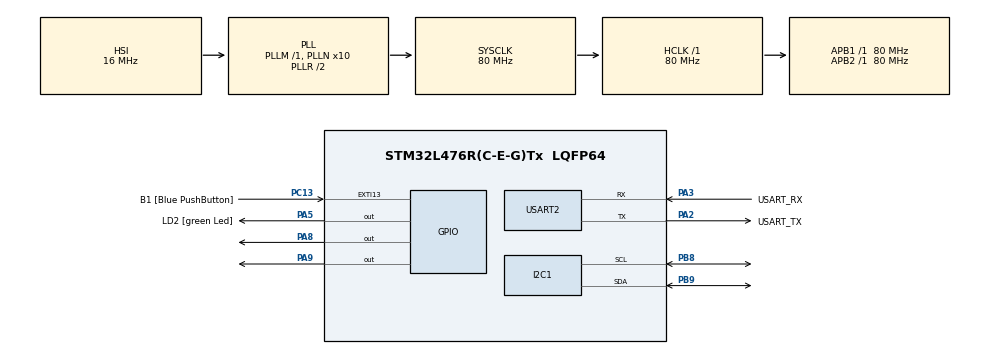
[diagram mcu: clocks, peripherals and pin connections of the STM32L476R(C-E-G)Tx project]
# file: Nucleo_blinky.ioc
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Mcu.Family=STM32L4
PA2.GPIO_PuPd=GPIO_NOPULL
TIM17.Prescaler=8000 - 1
RCC.CortexFreq_Value=80000000
VP_TIM17_VS_ClockSourceINT.Mode=Enable_Timer
NVIC.TIM6_DAC_IRQn=true\:0\:0\:false\:false\:true\:true\:true
PH0-OSC_IN\ (PH0).Signal=RCC_OSC_IN
PA3.GPIO_PuPd=GPIO_NOPULL
PA2.GPIO_Speed=GPIO_SPEED_FREQ_VERY_HIGH
PC15-OSC32_OUT\ (PC15).Mode=LSE-External-Oscillator
PC13.GPIO_Label=B1 [Blue PushButton]
PA3.GPIO_Speed=GPIO_SPEED_FREQ_VERY_HIGH
RCC.SYSCLKSource=RCC_SYSCLKSOURCE_PLLCLK
ProjectManager.StackSize=0x400
PB3\ (JTDO-TRACESWO).Signal=SYS_JTDO-SWO
PC14-OSC32_IN\ (PC14).Mode=LSE-External-Oscillator
PA14\ (JTCK-SWCLK).Signal=SYS_JTCK-SWCLK
RCC.HCLKFreq_Value=80000000
RCC.APB2TimFreq_Value=80000000
RCC.AHBFreq_Value=80000000
RCC.PREFETCH_ENABLE=1
RCC.HSE_VALUE=8000000
USART2.VirtualMode-Asynchronous=VM_ASYNC
TIM17.Period=2000 - 1
NVIC.TIM1_TRG_COM_TIM17_IRQn=true\:0\:0\:false\:false\:true\:true\:true
PA5.GPIO_PuPd=GPIO_NOPULL
PC13.GPIO_PuPd=GPIO_NOPULL
PA8.Signal=GPIO_Output
TIM6.Period=10000 - 1
Mcu.Package=LQFP64
PB9.Signal=I2C1_SDA
PA2.GPIO_Label=USART_TX
RCC.APB1TimFreq_Value=80000000
TIM16.Prescaler=8000 - 1
PA13\ (JTMS-SWDIO).Signal=SYS_JTMS-SWDIO
PA8.PinState=GPIO_PIN_RESET
PA3.Signal=USART2_RX
PA2.GPIO_Mode=GPIO_MODE_AF_PP
RCC.MSI_VALUE=4000000
RCC.PLLSourceVirtual=RCC_PLLSOURCE_HSI
PA14\ (JTCK-SWCLK).Mode=Serial_Wire
PC13.Signal=GPXTI13
TIM6.Prescaler=8000 - 1
VP_TIM6_VS_ClockSourceINT.Mode=Enable_Timer
PC15-OSC32_OUT\ (PC15).Signal=RCC_OSC32_OUT
VP_TIM16_VS_ClockSourceINT.Mode=Enable_Timer
PA14\ (JTCK-SWCLK).GPIO_Label=TCK
PB3\ (JTDO-TRACESWO).GPIO_Label=SWO
PH1-OSC_OUT\ (PH1).Signal=RCC_OSC_OUT
PA3.Mode=Asynchronous
ProjectManager.TargetToolchain=STM32CubeIDE
PA3.GPIO_Mode=GPIO_MODE_AF_PP
PB9.Mode=I2C
PA9.Signal=GPIO_Output
I2C1.Timing=0x10909CEC
PA9.PinState=GPIO_PIN_SET
RCC.USBFreq_Value=64000000
PA5.Signal=GPIO_Output
board=NUCLEO-L476RG
RCC.VCOOutputFreq_Value=160000000
TIM16.Period=10000-1
RCC.APB2Freq_Value=80000000
PA5.GPIO_ModeDefaultOutputPP=GPIO_MODE_OUTPUT_PP
PA13\ (JTMS-SWDIO).GPIO_Label=TMS
RCC.ADCFreq_Value=64000000
Mcu.Name=STM32L476R(C-E-G)Tx
PA2.Signal=USART2_TX
PA13\ (JTMS-SWDIO).Mode=Serial_Wire
RCC.SYSCLKFreq_VALUE=80000000
PA5.GPIO_Label=LD2 [green Led]
PC13.GPIO_ModeDefaultEXTI=GPIO_MODE_IT_FALLING
PC14-OSC32_IN\ (PC14).Signal=RCC_OSC32_IN
ProjectManager.HeapSize=0x200
RCC.HSI_VALUE=16000000
NVIC.TIM1_UP_TIM16_IRQn=true\:0\:0\:false\:false\:true\:true\:true
PA5.GPIO_Speed=GPIO_SPEED_FREQ_LOW
NVIC.PriorityGroup=NVIC_PRIORITYGROUP_4
RCC.PLLN=10
PB8.Mode=I2C
PA2.Mode=Asynchronous
PB8.Signal=I2C1_SCL
RCC.APB1Freq_Value=80000000
PA3.GPIO_Label=USART_RX

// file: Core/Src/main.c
/* USER CODE BEGIN Header */
/**
  ******************************************************************************
  * @file           : main.c
  * @brief          : Main program body
  ******************************************************************************
  * @attention
  *
  * <h2><center>&copy; Copyright (c) 2021 STMicroelectronics.
  * All rights reserved.</center></h2>
  *
  * This software component is licensed by ST under BSD 3-Clause license,
  * the "License"; You may not use this file except in compliance with the
  * License. You may obtain a copy of the License at:
  *                        opensource.org/licenses/BSD-3-Clause
  *
  ******************************************************************************
  */
/* USER CODE END Header */
#include "main.h"

/* USER CODE BEGIN Includes */
#include <string.h>
#include <stdio.h>
/* USER CODE END Includes */

I2C_HandleTypeDef hi2c1;

TIM_HandleTypeDef htim6;
TIM_HandleTypeDef htim16;
TIM_HandleTypeDef htim17;

UART_HandleTypeDef huart2;

/* USER CODE BEGIN PV */
//#define MPUSlaveAddr 0x68								 // Defines the MPU Slave address
//static const uint8_t MPUSlaveAddr = 0x68;				 // makes it more readable for functions
//static const uint8_t MPU6050_ADDR = MPUSlaveAddr << 1;   // Setting I2C slave address (and saving bit for R/W bit)
#define MPU6050_ADDR 0xD0
//static const uint8_t MPU_WHOAMI = 0x75;                  // for checking if the device is (properly) detected
#define WHO_AM_I_REG 0x75
//#define PWR_MGMT_ADDR 0x6B                             // used for waking up device from sleep
//static const uint8_t
#define PWR_MGMT_1_REG 0x6B				 // makes it more readable for functions
//static const uint8_t
#define SMPLRT_DIV_REG 0x19 				 // sample rate divider register
//static const uint8_t
#define GYRO_CONFIG_REG 0x1B					 // Gyroscope register address
//static const uint8_t
#define ACCEL_CONFIG_REG 0x1C					 // Accelerometer register address
//static const uint8_t
#define ACCEL_XOUT_H_REG 0x3B
//static const uint8_t
#define gyroRead  0x43

static float accelData[2];
static float gyroData[2];
static int16_t X_ACCEL_RAW;
static int16_t Y_ACCEL_RAW;
static int16_t Z_ACCEL_RAW;
static int16_t X_ACCEL;
static int16_t Y_ACCEL;
static int16_t Z_ACCEL;
/* USER CODE END PV */

void SystemClock_Config(void);
static void MX_GPIO_Init(void);
static void MX_USART2_UART_Init(void);
static void MX_TIM16_Init(void);
static void MX_I2C1_Init(void);
static void MX_TIM17_Init(void);
static void MX_TIM6_Init(void);

/* USER CODE BEGIN 0 */
void MPU6050_Init(void){
	uint8_t check, Data;
	Data = 128;
	HAL_I2C_Mem_Write(&hi2c1, MPU6050_ADDR, PWR_MGMT_1_REG, 1, &Data, 1, 1000);
	Data = 104;
	HAL_I2C_Mem_Write(&hi2c1, MPU6050_ADDR, WHO_AM_I_REG, 1,  &Data, 1, 1000);
	HAL_I2C_Mem_Read (&hi2c1, MPU6050_ADDR, WHO_AM_I_REG, 1, &check, 1, 1000);
	//HAL_I2C_Mem_Read(hi2c, DevAddress, MemAddress, MemAddSize, pData, Size, Timeout)
	Data = 0;
	HAL_I2C_Mem_Write(&hi2c1, MPU6050_ADDR, PWR_MGMT_1_REG, 1, &Data, 1, 1000);
	Data = 0x07;
	HAL_I2C_Mem_Write(&hi2c1, MPU6050_ADDR, SMPLRT_DIV_REG, 1, &Data, 1, 1000);
	Data = 0x00;
	HAL_I2C_Mem_Write(&hi2c1, MPU6050_ADDR, ACCEL_CONFIG_REG, 1, &Data, 1, 1000);
	Data = 0x00;
	HAL_I2C_Mem_Write(&hi2c1, MPU6050_ADDR, GYRO_CONFIG_REG, 1, &Data, 1, 1000);

	/*HAL_I2C_Mem_Read(&hi2c1, MPU6050_ADDR, MPU_WHOAMI, 1, addr_check,1, 100); // reads the WHO_AM_I register for its address
	char buff[100];
	//HAL_I2C_Mem_Read(hi2c, DevAddress, MemAddress, MemAddSize, pData, Size, Timeout)
	//sprintf(buff, "Read, but expected value is = %d",addr_check);
	//HAL_UART_Transmit(&huart2, &addr_check, 1, 100);
	if (addr_check == 104){    // checks if the MPU is (properly) detected
	/////// Wakes the device up by setting power management register to 0x0 /////////
		strcpy((char*)buff,"We worked!\r\n");
		HAL_UART_Transmit(&huart2, buff, strlen((char*)buff), HAL_MAX_DELAY);
		data = 0;
		HAL_I2C_Mem_Write(&hi2c1, MPU6050_ADDR, PWR_MGMT_ADDR, 1, &data, 1, 1000);
	/////// Sets the sampling rate of the device ////////  Gyro rate default = 8kHz
		data = 0x07; // 1kHz sampling rate (sample rate = gyro rate / (1 + sample rate) = 8 / (1 + 7)
		HAL_I2C_Mem_Write(&hi2c1, MPU6050_ADDR, SMP_RATE_DIV, 1, &data, 1, 1000);
	/////// Configure Gyroscope settings ////////
		data = 0; // scale range @ +/-250 deg /s     ||    scale rage +/- 2g
		HAL_I2C_Mem_Write(&hi2c1, MPU6050_ADDR, GYRO_ADDR, 1, &data, 1, 1000);
		HAL_I2C_Mem_Write(&hi2c1, MPU6050_ADDR, ACCEL_ADDR, 1, &data, 1, 1000);

	}
	   for(uint8_t i=0 ; i <255;i++)
	   {
	       if(HAL_I2C_IsDeviceReady(&hi2c1,i,1 ,10) == HAL_OK )
	       {
	    	  sprintf(buff, "Right at value %f",i);
	    	  HAL_UART_Transmit(&huart2, buff, strlen((char*)buff), HAL_MAX_DELAY);
	          break;
	       }
	    }*/
}
void readAccel(void){
	uint8_t accData[6]; // Takes in : X high, X low, Y high, Y low, Z high, Z low

	//HAL_I2C_Mem_Read(&hi2c1, MPU6050_ADDR, accelRead, I2C_MEMADD_SIZE_8BIT, &accData, 6, 10);
	HAL_I2C_Mem_Read(&hi2c1, MPU6050_ADDR, ACCEL_XOUT_H_REG, 1, accData, 6, 1000);
	// Raw Accelerometer data
	X_ACCEL_RAW = (int16_t)( accData[0] << 8 | accData[1] );
	Y_ACCEL_RAW = (int16_t)( accData[2] << 8 | accData[3] );
	Z_ACCEL_RAW = (int16_t)( accData[4] << 8 | accData[5] );

	// Converted Accelerometer data
	X_ACCEL = X_ACCEL_RAW  / 16384.0;
	Y_ACCEL = Y_ACCEL_RAW  / 16384.0;
	Z_ACCEL = Z_ACCEL_RAW  / 16384.0;

	// sending converted data into a array
	accelData[0] = (float)X_ACCEL;
	accelData[1] = (float)Y_ACCEL;
	accelData[2] = (float)Z_ACCEL;

}
/*void readGyro(void){
	uint8_t gyroData[6]; // Takes in : X high, X low, Y high, Y low, Z high, Z low

	//HAL_I2C_Mem_Read(&hi2c1, MPU6050_ADDR, gyroRead, 1, &gyroData, 6, 10);

	// Raw Accelerometer data
	uint16_t X_GYRO_RAW = (int16_t)( gyroData[0] << 8 | gyroData[1] );
	uint16_t Y_GYRO_RAW = (int16_t)( gyroData[2] << 8 | gyroData[3] );
	uint16_t Z_GYRO_RAW = (int16_t)( gyroData[4] << 8 | gyroData[5] );

	// Converted Accelerometer data
	uint16_t X_GYRO = X_GYRO_RAW / 131.0;
	uint16_t Y_GYRO = Y_GYRO_RAW / 131.0;
	uint16_t Z_GYRO = Z_GYRO_RAW / 131.0;

	// sending converted data into a array
	gyroData[0] = X_GYRO ;
	gyroData[1] = Y_GYRO ;
	gyroData[2] = Z_GYRO ;

}*/
/* USER CODE END 0 */

int main(void)
{
  /* USER CODE BEGIN 1 */
	//uint8_t buff[12];
  /* USER CODE END 1 */

  /* MCU Configuration--------------------------------------------------------*/

  /* Reset of all peripherals, Initializes the Flash interface and the Systick. */
  HAL_Init();

  /* USER CODE BEGIN Init */
  //int readPin = 0;
  /* USER CODE END Init */

  /* Configure the system clock */
  SystemClock_Config();

  /* Initialize all configured peripherals */
  MX_GPIO_Init();
  MX_USART2_UART_Init();
  MX_TIM16_Init();
  MX_I2C1_Init();
  MX_TIM17_Init();
  MX_TIM6_Init();
  /* USER CODE BEGIN 2 */
  HAL_TIM_Base_Start_IT(&htim16);
  HAL_TIM_Base_Start_IT(&htim17);
  MPU6050_Init();
  /* USER CODE END 2 */

  /* Infinite loop */
  /* USER CODE BEGIN WHILE */
  while (1)
  {
	  //strcpy((char*)buff,"Hello!\r\n");  // temporarily dumping this into the one interrupt I have going
	  //HAL_UART_Transmit(&huart2, buff, strlen((char*)buff), HAL_MAX_DELAY);
	  //HAL_GPIO_TogglePin(LD2_GPIO_Port, LD2_Pin);
	  //HAL_Delay(200);
	  /*if (HAL_GPIO_ReadPin(B1_GPIO_Port, B1_Pin) == 1){
		  readPin ^= 1;
		  HAL_Delay(100);
	  }*/
	  if((HAL_GPIO_ReadPin(B1_GPIO_Port, B1_Pin)==0)){
		  HAL_Delay(100);
		  HAL_GPIO_TogglePin(GPIOA, GPIO_PIN_8);
		  HAL_GPIO_TogglePin(GPIOA, GPIO_PIN_9);
		  HAL_Delay(100);
	  }
	  char buff[100];
	  readAccel();
	  //strcpy((char*)buff,"Hello There!\r\n");  // temporarily dumping this into the one interrupt I have going
	  //strcpy((char*)buff, "Ax = %f Ay = %f, Az = %f", accelData[0],accelData[1],accelData[2]);
	  sprintf(buff, "Ax = %f Ay = %f, Az = %f\r\n", accelData[0],accelData[1],accelData[2]);
	  HAL_UART_Transmit(&huart2, buff, strlen((char*)buff), HAL_MAX_DELAY);
	  HAL_Delay(200);
	  //readAccel();
	  //sprintf(buff, "Gx = %f Gy = %f, Gz = %f\r\n", gyroData[0],gyroData[1],gyroData[2]);
	  //HAL_UART_Transmit(&huart2, buff, strlen((char*)buff), HAL_MAX_DELAY);
	  //HAL_Delay(200);
	  //HAL_Delay(100);

    /* USER CODE END WHILE */

  }
}

void SystemClock_Config(void)
{
  RCC_OscInitTypeDef RCC_OscInitStruct = {0};
  RCC_ClkInitTypeDef RCC_ClkInitStruct = {0};
  RCC_PeriphCLKInitTypeDef PeriphClkInit = {0};

  /** Initializes the RCC Oscillators according to the specified parameters
  * in the RCC_OscInitTypeDef structure.
  */
  RCC_OscInitStruct.OscillatorType = RCC_OSCILLATORTYPE_HSI;
  RCC_OscInitStruct.HSIState = RCC_HSI_ON;
  RCC_OscInitStruct.HSICalibrationValue = RCC_HSICALIBRATION_DEFAULT;
  RCC_OscInitStruct.PLL.PLLState = RCC_PLL_ON;
  RCC_OscInitStruct.PLL.PLLSource = RCC_PLLSOURCE_HSI;
  RCC_OscInitStruct.PLL.PLLM = 1;
  RCC_OscInitStruct.PLL.PLLN = 10;
  RCC_OscInitStruct.PLL.PLLP = RCC_PLLP_DIV7;
  RCC_OscInitStruct.PLL.PLLQ = RCC_PLLQ_DIV2;
  RCC_OscInitStruct.PLL.PLLR = RCC_PLLR_DIV2;
  if (HAL_RCC_OscConfig(&RCC_OscInitStruct) != HAL_OK)
  {
    Error_Handler();
  }
  /** Initializes the CPU, AHB and APB buses clocks
  */
  RCC_ClkInitStruct.ClockType = RCC_CLOCKTYPE_HCLK|RCC_CLOCKTYPE_SYSCLK
                              |RCC_CLOCKTYPE_PCLK1|RCC_CLOCKTYPE_PCLK2;
  RCC_ClkInitStruct.SYSCLKSource = RCC_SYSCLKSOURCE_PLLCLK;
  RCC_ClkInitStruct.AHBCLKDivider = RCC_SYSCLK_DIV1;
  RCC_ClkInitStruct.APB1CLKDivider = RCC_HCLK_DIV1;
  RCC_ClkInitStruct.APB2CLKDivider = RCC_HCLK_DIV1;

  if (HAL_RCC_ClockConfig(&RCC_ClkInitStruct, FLASH_LATENCY_4) != HAL_OK)
  {
    Error_Handler();
  }
  PeriphClkInit.PeriphClockSelection = RCC_PERIPHCLK_USART2|RCC_PERIPHCLK_I2C1;
  PeriphClkInit.Usart2ClockSelection = RCC_USART2CLKSOURCE_PCLK1;
  PeriphClkInit.I2c1ClockSelection = RCC_I2C1CLKSOURCE_PCLK1;
  if (HAL_RCCEx_PeriphCLKConfig(&PeriphClkInit) != HAL_OK)
  {
    Error_Handler();
  }
  /** Configure the main internal regulator output voltage
  */
  if (HAL_PWREx_ControlVoltageScaling(PWR_REGULATOR_VOLTAGE_SCALE1) != HAL_OK)
  {
    Error_Handler();
  }
}

static void MX_I2C1_Init(void)
{

  hi2c1.Instance = I2C1;
  hi2c1.Init.Timing = 0x10909CEC;
  hi2c1.Init.OwnAddress1 = 0;
  hi2c1.Init.AddressingMode = I2C_ADDRESSINGMODE_7BIT;
  hi2c1.Init.DualAddressMode = I2C_DUALADDRESS_DISABLE;
  hi2c1.Init.OwnAddress2 = 0;
  hi2c1.Init.OwnAddress2Masks = I2C_OA2_NOMASK;
  hi2c1.Init.GeneralCallMode = I2C_GENERALCALL_DISABLE;
  hi2c1.Init.NoStretchMode = I2C_NOSTRETCH_DISABLE;
  if (HAL_I2C_Init(&hi2c1) != HAL_OK)
  {
    Error_Handler();
  }
  /** Configure Analogue filter
  */
  if (HAL_I2CEx_ConfigAnalogFilter(&hi2c1, I2C_ANALOGFILTER_ENABLE) != HAL_OK)
  {
    Error_Handler();
  }
  /** Configure Digital filter
  */
  if (HAL_I2CEx_ConfigDigitalFilter(&hi2c1, 0) != HAL_OK)
  {
    Error_Handler();
  }

}

static void MX_TIM6_Init(void)
{

  TIM_MasterConfigTypeDef sMasterConfig = {0};

  htim6.Instance = TIM6;
  htim6.Init.Prescaler = 8000 - 1;
  htim6.Init.CounterMode = TIM_COUNTERMODE_UP;
  htim6.Init.Period = 10000 - 1;
  htim6.Init.AutoReloadPreload = TIM_AUTORELOAD_PRELOAD_DISABLE;
  if (HAL_TIM_Base_Init(&htim6) != HAL_OK)
  {
    Error_Handler();
  }
  sMasterConfig.MasterOutputTrigger = TIM_TRGO_RESET;
  sMasterConfig.MasterSlaveMode = TIM_MASTERSLAVEMODE_DISABLE;
  if (HAL_TIMEx_MasterConfigSynchronization(&htim6, &sMasterConfig) != HAL_OK)
  {
    Error_Handler();
  }

}

static void MX_TIM16_Init(void)
{

  htim16.Instance = TIM16;
  htim16.Init.Prescaler = 8000 - 1;
  htim16.Init.CounterMode = TIM_COUNTERMODE_UP;
  htim16.Init.Period = 10000-1;
  htim16.Init.ClockDivision = TIM_CLOCKDIVISION_DIV1;
  htim16.Init.RepetitionCounter = 0;
  htim16.Init.AutoReloadPreload = TIM_AUTORELOAD_PRELOAD_DISABLE;
  if (HAL_TIM_Base_Init(&htim16) != HAL_OK)
  {
    Error_Handler();
  }

}

static void MX_TIM17_Init(void)
{

  htim17.Instance = TIM17;
  htim17.Init.Prescaler = 8000 - 1;
  htim17.Init.CounterMode = TIM_COUNTERMODE_UP;
  htim17.Init.Period = 2000 - 1;
  htim17.Init.ClockDivision = TIM_CLOCKDIVISION_DIV1;
  htim17.Init.RepetitionCounter = 0;
  htim17.Init.AutoReloadPreload = TIM_AUTORELOAD_PRELOAD_DISABLE;
  if (HAL_TIM_Base_Init(&htim17) != HAL_OK)
  {
    Error_Handler();
  }

}

static void MX_USART2_UART_Init(void)
{

  huart2.Instance = USART2;
  huart2.Init.BaudRate = 115200;
  huart2.Init.WordLength = UART_WORDLENGTH_8B;
  huart2.Init.StopBits = UART_STOPBITS_1;
  huart2.Init.Parity = UART_PARITY_NONE;
  huart2.Init.Mode = UART_MODE_TX_RX;
  huart2.Init.HwFlowCtl = UART_HWCONTROL_NONE;
  huart2.Init.OverSampling = UART_OVERSAMPLING_16;
  huart2.Init.OneBitSampling = UART_ONE_BIT_SAMPLE_DISABLE;
  huart2.AdvancedInit.AdvFeatureInit = UART_ADVFEATURE_NO_INIT;
  if (HAL_UART_Init(&huart2) != HAL_OK)
  {
    Error_Handler();
  }

}

static void MX_GPIO_Init(void)
{
  GPIO_InitTypeDef GPIO_InitStruct = {0};

  /* GPIO Ports Clock Enable */
  __HAL_RCC_GPIOC_CLK_ENABLE();
  __HAL_RCC_GPIOH_CLK_ENABLE();
  __HAL_RCC_GPIOA_CLK_ENABLE();
  __HAL_RCC_GPIOB_CLK_ENABLE();

  /*Configure GPIO pin Output Level */
  HAL_GPIO_WritePin(GPIOA, LD2_Pin|GPIO_PIN_8, GPIO_PIN_RESET);

  /*Configure GPIO pin Output Level */
  HAL_GPIO_WritePin(GPIOA, GPIO_PIN_9, GPIO_PIN_SET);

  /*Configure GPIO pin : B1_Pin */
  GPIO_InitStruct.Pin = B1_Pin;
  GPIO_InitStruct.Mode = GPIO_MODE_IT_FALLING;
  GPIO_InitStruct.Pull = GPIO_NOPULL;
  HAL_GPIO_Init(B1_GPIO_Port, &GPIO_InitStruct);

  /*Configure GPIO pins : LD2_Pin PA8 PA9 */
  GPIO_InitStruct.Pin = LD2_Pin|GPIO_PIN_8|GPIO_PIN_9;
  GPIO_InitStruct.Mode = GPIO_MODE_OUTPUT_PP;
  GPIO_InitStruct.Pull = GPIO_NOPULL;
  GPIO_InitStruct.Speed = GPIO_SPEED_FREQ_LOW;
  HAL_GPIO_Init(GPIOA, &GPIO_InitStruct);

}

/* USER CODE BEGIN 4 */
void HAL_TIM_PeriodElapsedCallback(TIM_HandleTypeDef *htim){
	if (htim == &htim16){
		HAL_GPIO_TogglePin(LD2_GPIO_Port, LD2_Pin);
	}
	if (htim == &htim17){
	 /* char buff[100];
	  readAccel();
	  //strcpy((char*)buff,"Hello There!\r\n");  // temporarily dumping this into the one interrupt I have going
	  //strcpy((char*)buff, "Ax = %f Ay = %f, Az = %f", accelData[0],accelData[1],accelData[2]);
	  sprintf(buff, "Ax = %f Ay = %f, Az = %f\r\n", accelData[0],accelData[1],accelData[2]);
	  HAL_UART_Transmit(&huart2, buff, strlen((char*)buff), HAL_MAX_DELAY);
	  readAccel();
	  sprintf(buff, "Gx = %f Gy = %f, Gz = %f\r\n", gyroData[0],gyroData[1],gyroData[2]);
	  HAL_UART_Transmit(&huart2, buff, strlen((char*)buff), HAL_MAX_DELAY);*/
	}
}
/* USER CODE END 4 */

void Error_Handler(void)
{
  __disable_irq();
  while (1)
  {
  }
}

/************************ (C) COPYRIGHT STMicroelectronics *****END OF FILE****/
